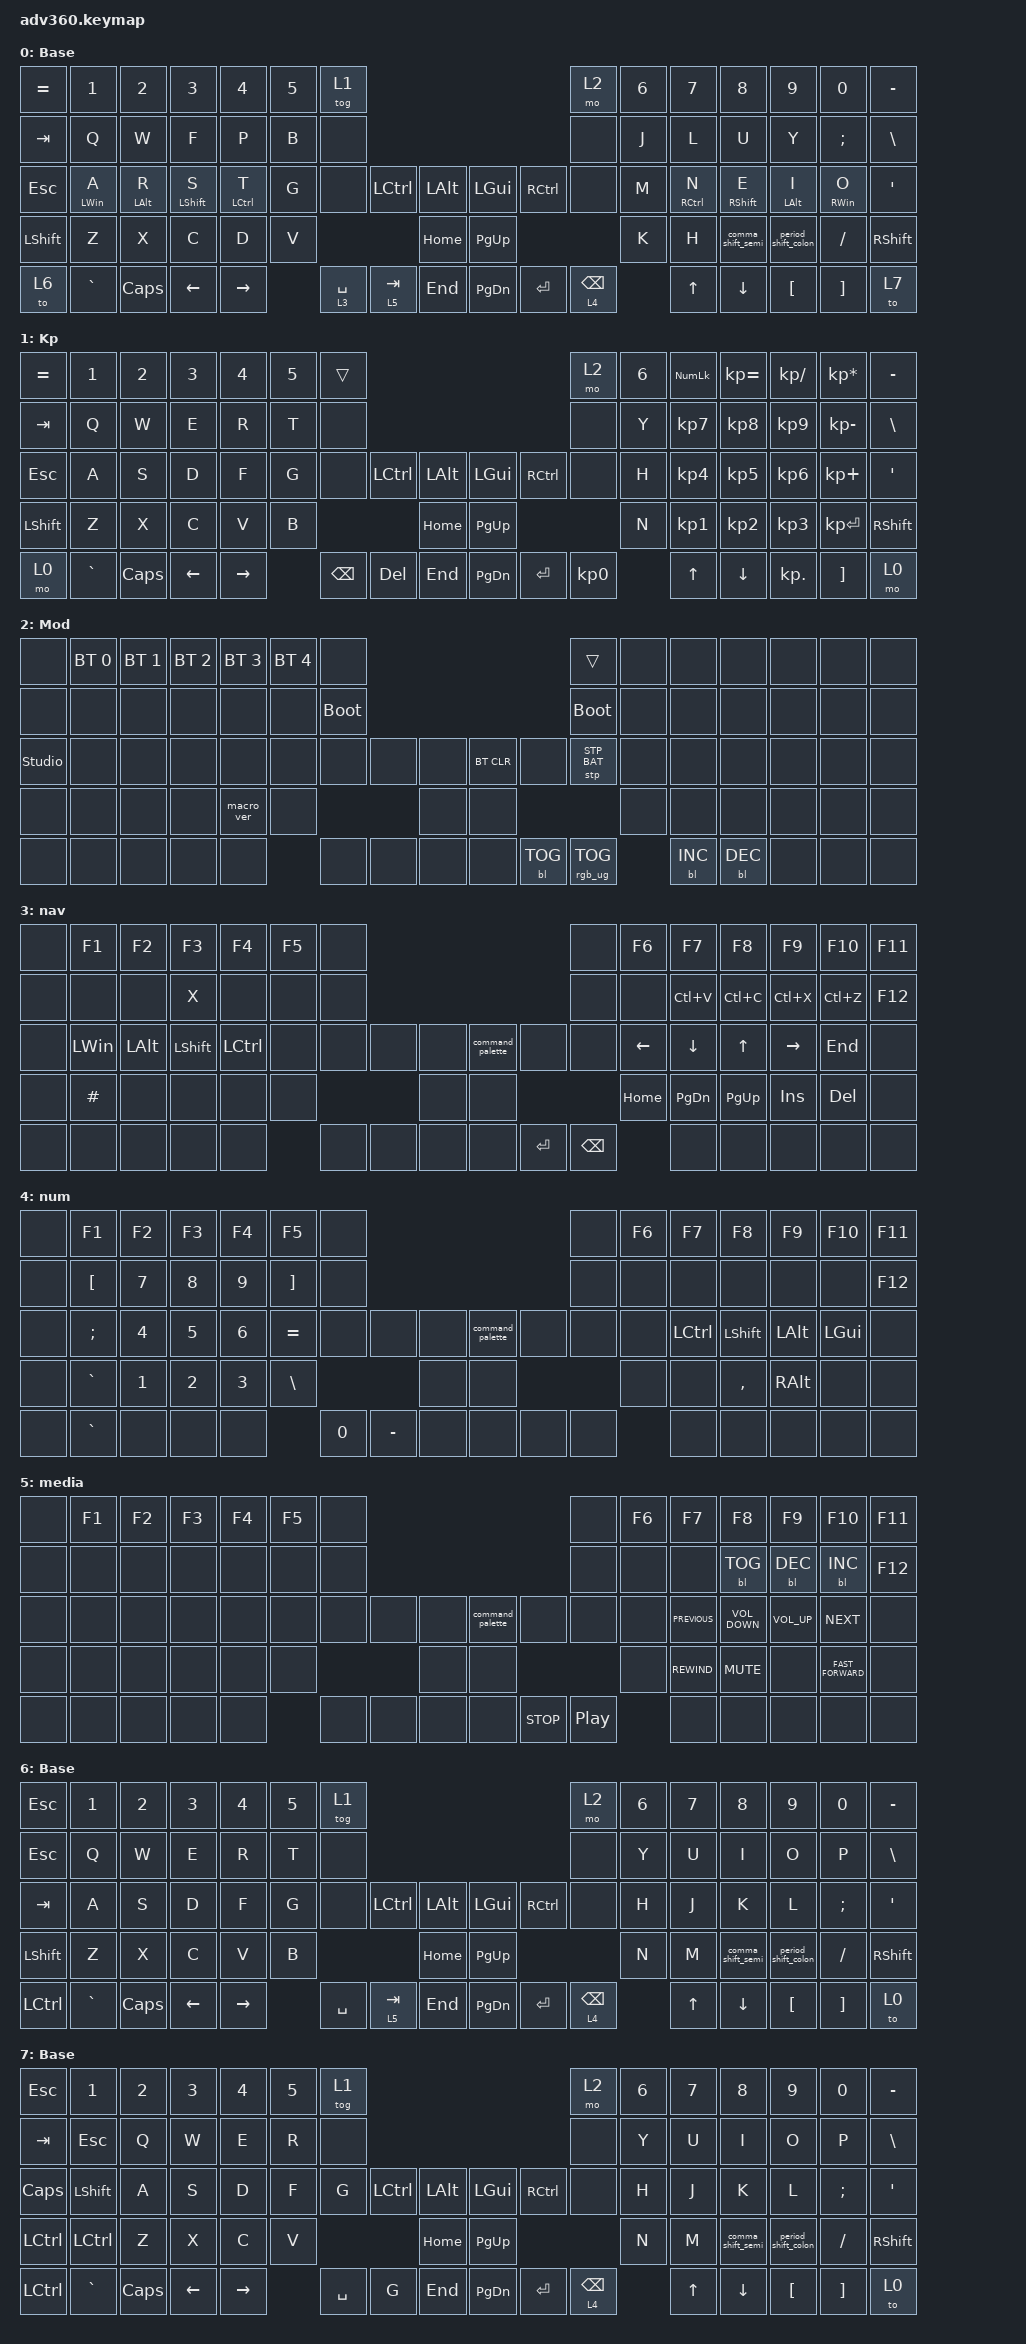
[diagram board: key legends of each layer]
#include <dt-bindings/zmk/stp.h>
#include <behaviors.dtsi>
#include <dt-bindings/zmk/backlight.h>
#include <dt-bindings/zmk/bt.h>
#include <dt-bindings/zmk/keys.h>
#include <dt-bindings/zmk/rgb.h>

/ {
    behaviors {
        #include "macros.dtsi"
      #include "version.dtsi"

        hml: homerow_left {
            compatible = "zmk,behavior-hold-tap";
            label = "HOMEROW_LEFT";
            #binding-cells = <2>;
            tapping-term-ms = <280>;
            flavor = "balanced";
            bindings = <&kp>, <&kp>;

            require-prior-idle-ms = <150>;
            quick-tap-ms = <175>;
            hold-trigger-on-release;
            hold-trigger-key-positions = <69 70 66 65 55 54 57 56 58 41 40 44 43 42 22 23 24 25 26>;
        };

        mod_tap: mod_tap {
            compatible = "zmk,behavior-hold-tap";
            label = "MOD_TAP";
            bindings = <&mo>, <&kp>;

            #binding-cells = <2>;
            tapping-term-ms = <280>;
            flavor = "balanced";
            quick-tap-ms = <175>;
            require-prior-idle-ms = <150>;
        };

        hmr: homerow_right {
            compatible = "zmk,behavior-hold-tap";
            label = "HOMEROW_RIGHT";
            #binding-cells = <2>;
            tapping-term-ms = <280>;
            flavor = "balanced";
            bindings = <&kp>, <&kp>;

            require-prior-idle-ms = <150>;
            quick-tap-ms = <175>;
            hold-trigger-on-release;
            hold-trigger-key-positions = <66 65 69 70 47 48 49 50 51 29 31 30 32 33 19 18 17 16 15>;
        };

        comma_shift_semi: comma_shift_semi {
            compatible = "zmk,behavior-mod-morph";
            label = ", ;";
            bindings = <&kp COMMA>, <&kp SEMI>;

            #binding-cells = <0>;
            mods = <(MOD_LSFT)>;
        };

        period_shift_colon: period_shift_colon {
            compatible = "zmk,behavior-mod-morph";
            label = ". :";
            bindings = <&kp PERIOD>, <&kp COLON>;

            #binding-cells = <0>;
            mods = <(MOD_LSFT)>;
        };
    };

    combos {
        compatible = "zmk,combos";

        left_curly {
            bindings = <&kp LEFT_BRACE>;
            key-positions = <23 24>;
        };

        right_brace {
            bindings = <&kp RIGHT_BRACE>;
            key-positions = <24 25>;
        };

        left_bracket {
            bindings = <&kp LEFT_BRACKET>;
            key-positions = <18 17>;
        };

        right_bracket {
            bindings = <&kp RIGHT_BRACKET>;
            key-positions = <17 16>;
        };

        left_paren {
            bindings = <&kp LEFT_PARENTHESIS>;
            key-positions = <55 56>;
        };

        right_paren {
            bindings = <&kp RIGHT_PARENTHESIS>;
            key-positions = <56 57>;
        };

        double_quote {
            bindings = <&kp DOUBLE_QUOTES>;
            key-positions = <23 25>;
        };

        single_quote {
            bindings = <&kp SQT>;
            key-positions = <57 55>;
        };

        grave {
            bindings = <&kp GRAVE>;
            key-positions = <18 16>;
        };

        tilde {
            bindings = <&kp TILDE>;
            key-positions = <48 50>;
        };

        forward_slash {
            bindings = <&kp LESS_THAN>;
            key-positions = <71 72>;
        };

        backslash {
            bindings = <&kp GREATER_THAN>;
            key-positions = <72 73>;
        };

        equal {
            bindings = <&kp EQUAL>;
            key-positions = <63 64>;
        };

        plus {
            bindings = <&kp PLUS>;
            key-positions = <62 63>;
        };
    };

    macros {
        command_palette: command_palette {
            compatible = "zmk,behavior-macro";
            #binding-cells = <0>;
            bindings =
                <&macro_press>,
                <&kp LA(LEFT_WIN)>,
                <&macro_tap>,
                <&kp SPACE>,
                <&macro_release>,
                <&kp LA(LEFT_WIN)>;

            label = "COMMAND_PALETTE";
        };
    };

    keymap {
        compatible = "zmk,keymap";

        default_layer {
            display-name = "Base";
            bindings = <
&kp EQUAL  &kp N1           &kp N2       &kp N3        &kp N4        &kp N5  &tog 1                                                                &mo 2                 &kp N6  &kp N7        &kp N8             &kp N9               &kp N0            &kp MINUS
&kp TAB    &kp Q            &kp W        &kp F         &kp P         &kp B   &none                                                                 &none                 &kp J   &kp L         &kp U              &kp Y                &kp SEMICOLON     &kp BSLH
&kp ESC    &hml LEFT_WIN A  &hml LALT R  &hml LSHFT S  &hml LCTRL T  &kp G   &none             &kp LCTRL       &kp LALT      &kp LGUI   &kp RCTRL  &none                 &kp M   &hmr RCTRL N  &hmr RSHFT E       &hmr LEFT_ALT I      &hmr RIGHT_WIN O  &kp SQT
&kp LSHFT  &kp Z            &kp X        &kp C         &kp D         &kp V                                     &kp HOME      &kp PG_UP                                   &kp K   &kp H         &comma_shift_semi  &period_shift_colon  &kp FSLH          &kp RSHFT
&to 6      &kp GRAVE        &kp CAPS     &kp LEFT      &kp RIGHT             &mod_tap 3 SPACE  &mod_tap 5 TAB  &kp END       &kp PG_DN  &kp ENTER  &mod_tap 4 BACKSPACE          &kp UP        &kp DOWN           &kp LBKT             &kp RBKT          &to 7
            >;
        };

        keypad {
            display-name = "Kp";
            bindings = <
&kp EQUAL  &kp N1     &kp N2    &kp N3    &kp N4     &kp N5  &trans                                                   &mo 2      &kp N6  &kp KP_NUM  &kp KP_EQUAL  &kp KP_DIVIDE  &kp KP_MULTIPLY  &kp MINUS
&kp TAB    &kp Q      &kp W     &kp E     &kp R      &kp T   &none                                                    &none      &kp Y   &kp KP_N7   &kp KP_N8     &kp KP_N9      &kp KP_MINUS     &kp BSLH
&kp ESC    &kp A      &kp S     &kp D     &kp F      &kp G   &none     &kp LCTRL  &kp LALT      &kp LGUI   &kp RCTRL  &none      &kp H   &kp KP_N4   &kp KP_N5     &kp KP_N6      &kp KP_PLUS      &kp SQT
&kp LSHFT  &kp Z      &kp X     &kp C     &kp V      &kp B                        &kp HOME      &kp PG_UP                        &kp N   &kp KP_N1   &kp KP_N2     &kp KP_N3      &kp KP_ENTER     &kp RSHFT
&mo 0      &kp GRAVE  &kp CAPS  &kp LEFT  &kp RIGHT          &kp BSPC  &kp DEL    &kp END       &kp PG_DN  &kp ENTER  &kp KP_N0          &kp UP      &kp DOWN      &kp KP_DOT     &kp RBKT         &mo 0
            >;
        };

        mod {
            display-name = "Mod";
            bindings = <
&none           &bt BT_SEL 0  &bt BT_SEL 1  &bt BT_SEL 2  &bt BT_SEL 3  &bt BT_SEL 4  &none                                                  &trans           &none  &none       &none       &none  &none  &none
&none           &none         &none         &none         &none         &none         &bootloader                                            &bootloader      &none  &none       &none       &none  &none  &none
&studio_unlock  &none         &none         &none         &none         &none         &none        &none  &none      &bt BT_CLR  &none       &stp STP_BAT     &none  &none       &none       &none  &none  &none
&none           &none         &none         &none         &macro_ver    &none                             &none      &none                                    &none  &none       &none       &none  &none  &none
&none           &none         &none         &none         &none                       &none        &none  &none      &none       &bl BL_TOG  &rgb_ug RGB_TOG         &bl BL_INC  &bl BL_DEC  &none  &none  &none
            >;
        };

        nav {
            display-name = "nav";
            bindings = <
&none  &kp F1        &kp F2        &kp F3      &kp F4     &kp F5  &none                                                 &none          &kp F6    &kp F7         &kp F8        &kp F9     &kp F10     &kp F11
&none  &none         &none         &kp X       &none      &none   &none                                                 &none          &none     &kp LC(V)      &kp LC(C)     &kp LC(X)  &kp LC(Z)   &kp F12
&none  &kp LEFT_WIN  &kp LEFT_ALT  &kp LSHIFT  &kp LCTRL  &none   &none  &none  &none      &command_palette  &none      &none          &kp LEFT  &kp DOWN       &kp UP_ARROW  &kp RIGHT  &kp END     &none
&none  &kp HASH      &none         &none       &none      &none                 &none      &none                                       &kp HOME  &kp PAGE_DOWN  &kp PG_UP     &kp INS    &kp DELETE  &none
&none  &none         &none         &none       &none              &none  &none  &none      &none             &kp ENTER  &kp BACKSPACE            &none          &none         &none      &none       &none
            >;
        };

        num {
            display-name = "num";
            bindings = <
&none  &kp F1     &kp F2  &kp F3  &kp F4  &kp F5     &none                                                  &none  &kp F6  &kp F7     &kp F8     &kp F9    &kp F10   &kp F11
&none  &kp LBKT   &kp N7  &kp N8  &kp N9  &kp RBKT   &none                                                  &none  &none   &none      &none      &none     &none     &kp F12
&none  &kp SEMI   &kp N4  &kp N5  &kp N6  &kp EQUAL  &none   &none      &none      &command_palette  &none  &none  &none   &kp LCTRL  &kp LSHFT  &kp LALT  &kp LGUI  &none
&none  &kp GRAVE  &kp N1  &kp N2  &kp N3  &kp BSLH                      &none      &none                           &none   &none      &kp COMMA  &kp RALT  &none     &none
&none  &kp GRAVE  &none   &none   &none              &kp N0  &kp MINUS  &none      &none             &none  &none          &none      &none      &none     &none     &none
            >;
        };

        media {
            bindings = <
&none  &kp F1  &kp F2  &kp F3  &kp F4  &kp F5  &none                                                  &none             &kp F6  &kp F7          &kp F8             &kp F9           &kp F10             &kp F11
&none  &none   &none   &none   &none   &none   &none                                                  &none             &none   &none           &bl BL_TOG         &bl BL_DEC       &bl BL_INC          &kp F12
&none  &none   &none   &none   &none   &none   &none  &none  &none      &command_palette  &none       &none             &none   &kp C_PREVIOUS  &kp C_VOLUME_DOWN  &kp C_VOLUME_UP  &kp C_NEXT          &none
&none  &none   &none   &none   &none   &none                 &none      &none                                           &none   &kp C_REWIND    &kp C_MUTE         &none            &kp C_FAST_FORWARD  &none
&none  &none   &none   &none   &none           &none  &none  &none      &none             &kp C_STOP  &kp C_PLAY_PAUSE          &none           &none              &none            &none               &none
            >;
        };

        Qwerty {
            display-name = "Base";
            bindings = <
&kp ESCAPE        &kp N1     &kp N2    &kp N3    &kp N4     &kp N5  &tog 1                                                         &mo 2                 &kp N6  &kp N7  &kp N8             &kp N9               &kp N0         &kp MINUS
&kp ESCAPE        &kp Q      &kp W     &kp E     &kp R      &kp T   &none                                                          &none                 &kp Y   &kp U   &kp I              &kp O                &kp P          &kp BSLH
&kp TAB           &kp A      &kp S     &kp D     &kp F      &kp G   &none      &kp LCTRL       &kp LALT      &kp LGUI   &kp RCTRL  &none                 &kp H   &kp J   &kp K              &kp L                &kp SEMICOLON  &kp SQT
&kp LSHFT         &kp Z      &kp X     &kp C     &kp V      &kp B                              &kp HOME      &kp PG_UP                                   &kp N   &kp M   &comma_shift_semi  &period_shift_colon  &kp FSLH       &kp RSHFT
&kp LEFT_CONTROL  &kp GRAVE  &kp CAPS  &kp LEFT  &kp RIGHT          &kp SPACE  &mod_tap 5 TAB  &kp END       &kp PG_DN  &kp ENTER  &mod_tap 4 BACKSPACE          &kp UP  &kp DOWN           &kp LBKT             &kp RBKT       &to 0
            >;
        };

        Gaming {
            display-name = "Base";
            bindings = <
&kp ESCAPE        &kp N1          &kp N2    &kp N3    &kp N4     &kp N5  &tog 1                                                    &mo 2                 &kp N6  &kp N7  &kp N8             &kp N9               &kp N0         &kp MINUS
&kp TAB           &kp ESCAPE      &kp Q     &kp W     &kp E      &kp R   &none                                                     &none                 &kp Y   &kp U   &kp I              &kp O                &kp P          &kp BSLH
&kp CAPSLOCK      &kp LEFT_SHIFT  &kp A     &kp S     &kp D      &kp F   &kp G      &kp LCTRL  &kp LALT      &kp LGUI   &kp RCTRL  &none                 &kp H   &kp J   &kp K              &kp L                &kp SEMICOLON  &kp SQT
&kp LCTRL         &kp LCTRL       &kp Z     &kp X     &kp C      &kp V                         &kp HOME      &kp PG_UP                                   &kp N   &kp M   &comma_shift_semi  &period_shift_colon  &kp FSLH       &kp RSHFT
&kp LEFT_CONTROL  &kp GRAVE       &kp CAPS  &kp LEFT  &kp RIGHT          &kp SPACE  &kp G      &kp END       &kp PG_DN  &kp ENTER  &mod_tap 4 BACKSPACE          &kp UP  &kp DOWN           &kp LBKT             &kp RBKT       &to 0
            >;
        };
    };
};
